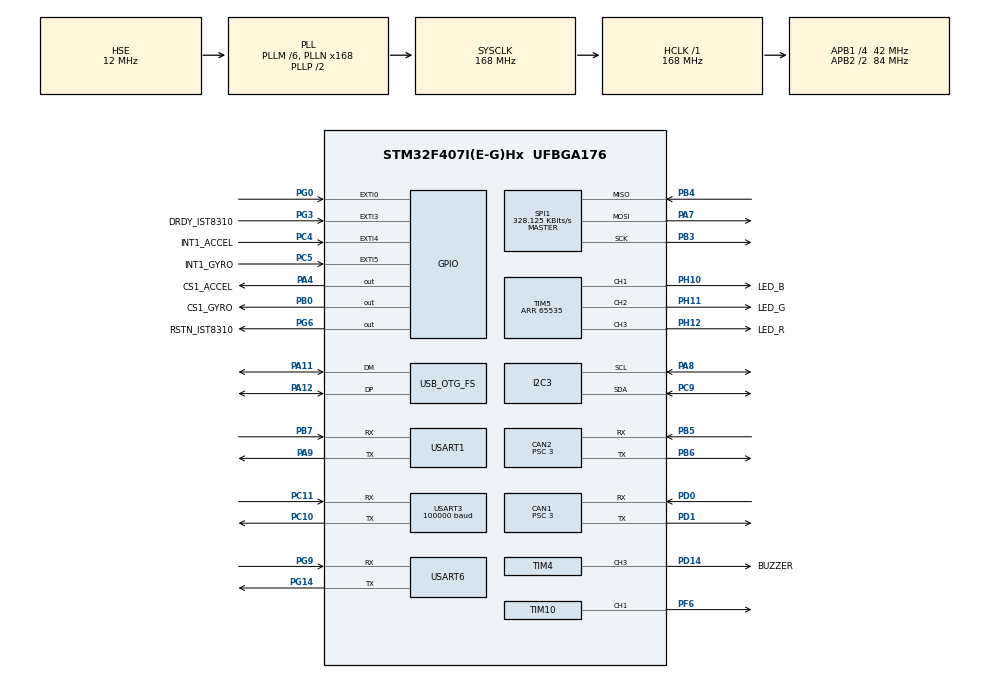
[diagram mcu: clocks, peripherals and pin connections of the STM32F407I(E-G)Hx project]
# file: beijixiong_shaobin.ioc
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CAN1.BS1=CAN_BS1_10TQ
CAN1.BS2=CAN_BS2_3TQ
CAN1.CalculateBaudRate=1000000
CAN1.CalculateTimeBit=1000
CAN1.CalculateTimeQuantum=71.42857142857143
CAN1.Prescaler=3
CAN2.BS1=CAN_BS1_10TQ
CAN2.BS2=CAN_BS2_3TQ
CAN2.CalculateBaudRate=1000000
CAN2.CalculateTimeBit=1000
CAN2.CalculateTimeQuantum=71.42857142857143
CAN2.Prescaler=3
Dma.Request0=USART6_RX
Dma.Request1=USART6_TX
Dma.Request2=USART3_RX
Dma.Request3=USART1_RX
Dma.Request4=USART1_TX
Dma.Request5=SPI1_RX
Dma.Request6=SPI1_TX
Dma.SPI1_RX.5.Direction=DMA_PERIPH_TO_MEMORY
Dma.SPI1_RX.5.FIFOMode=DMA_FIFOMODE_DISABLE
Dma.SPI1_RX.5.Instance=DMA2_Stream2
Dma.SPI1_RX.5.MemDataAlignment=DMA_MDATAALIGN_BYTE
Dma.SPI1_RX.5.MemInc=DMA_MINC_ENABLE
Dma.SPI1_RX.5.Mode=DMA_NORMAL
Dma.SPI1_RX.5.PeriphDataAlignment=DMA_PDATAALIGN_BYTE
Dma.SPI1_RX.5.PeriphInc=DMA_PINC_DISABLE
Dma.SPI1_RX.5.Priority=DMA_PRIORITY_VERY_HIGH
Dma.SPI1_TX.6.Direction=DMA_MEMORY_TO_PERIPH
Dma.SPI1_TX.6.FIFOMode=DMA_FIFOMODE_DISABLE
Dma.SPI1_TX.6.Instance=DMA2_Stream3
Dma.SPI1_TX.6.MemDataAlignment=DMA_MDATAALIGN_BYTE
Dma.SPI1_TX.6.MemInc=DMA_MINC_ENABLE
Dma.SPI1_TX.6.Mode=DMA_NORMAL
Dma.SPI1_TX.6.PeriphDataAlignment=DMA_PDATAALIGN_BYTE
Dma.SPI1_TX.6.PeriphInc=DMA_PINC_DISABLE
Dma.SPI1_TX.6.Priority=DMA_PRIORITY_HIGH
Dma.USART1_RX.3.Direction=DMA_PERIPH_TO_MEMORY
Dma.USART1_RX.3.FIFOMode=DMA_FIFOMODE_DISABLE
Dma.USART1_RX.3.Instance=DMA2_Stream5
Dma.USART1_RX.3.MemDataAlignment=DMA_MDATAALIGN_BYTE
Dma.USART1_RX.3.MemInc=DMA_MINC_ENABLE
Dma.USART1_RX.3.Mode=DMA_NORMAL
Dma.USART1_RX.3.PeriphDataAlignment=DMA_PDATAALIGN_BYTE
Dma.USART1_RX.3.PeriphInc=DMA_PINC_DISABLE
Dma.USART1_RX.3.Priority=DMA_PRIORITY_MEDIUM
Dma.USART1_TX.4.Direction=DMA_MEMORY_TO_PERIPH
Dma.USART1_TX.4.FIFOMode=DMA_FIFOMODE_DISABLE
Dma.USART1_TX.4.Instance=DMA2_Stream7
Dma.USART1_TX.4.MemDataAlignment=DMA_MDATAALIGN_BYTE
Dma.USART1_TX.4.MemInc=DMA_MINC_ENABLE
Dma.USART1_TX.4.Mode=DMA_NORMAL
Dma.USART1_TX.4.PeriphDataAlignment=DMA_PDATAALIGN_BYTE
Dma.USART1_TX.4.PeriphInc=DMA_PINC_DISABLE
Dma.USART1_TX.4.Priority=DMA_PRIORITY_MEDIUM
Dma.USART3_RX.2.Direction=DMA_PERIPH_TO_MEMORY
Dma.USART3_RX.2.FIFOMode=DMA_FIFOMODE_DISABLE
Dma.USART3_RX.2.Instance=DMA1_Stream1
Dma.USART3_RX.2.MemDataAlignment=DMA_MDATAALIGN_BYTE
Dma.USART3_RX.2.MemInc=DMA_MINC_ENABLE
Dma.USART3_RX.2.Mode=DMA_NORMAL
Dma.USART3_RX.2.PeriphDataAlignment=DMA_PDATAALIGN_BYTE
Dma.USART3_RX.2.PeriphInc=DMA_PINC_DISABLE
Dma.USART3_RX.2.Priority=DMA_PRIORITY_HIGH
Dma.USART6_RX.0.Direction=DMA_PERIPH_TO_MEMORY
Dma.USART6_RX.0.FIFOMode=DMA_FIFOMODE_DISABLE
Dma.USART6_RX.0.Instance=DMA2_Stream1
Dma.USART6_RX.0.MemDataAlignment=DMA_MDATAALIGN_BYTE
Dma.USART6_RX.0.MemInc=DMA_MINC_ENABLE
Dma.USART6_RX.0.Mode=DMA_NORMAL
Dma.USART6_RX.0.PeriphDataAlignment=DMA_PDATAALIGN_BYTE
Dma.USART6_RX.0.PeriphInc=DMA_PINC_DISABLE
Dma.USART6_RX.0.Priority=DMA_PRIORITY_HIGH
Dma.USART6_TX.1.Direction=DMA_MEMORY_TO_PERIPH
Dma.USART6_TX.1.FIFOMode=DMA_FIFOMODE_DISABLE
Dma.USART6_TX.1.Instance=DMA2_Stream6
Dma.USART6_TX.1.MemDataAlignment=DMA_MDATAALIGN_BYTE
Dma.USART6_TX.1.MemInc=DMA_MINC_ENABLE
Dma.USART6_TX.1.Mode=DMA_NORMAL
Dma.USART6_TX.1.PeriphDataAlignment=DMA_PDATAALIGN_BYTE
Dma.USART6_TX.1.PeriphInc=DMA_PINC_DISABLE
Dma.USART6_TX.1.Priority=DMA_PRIORITY_MEDIUM
FREERTOS.INCLUDE_eTaskGetState=1
FREERTOS.INCLUDE_pcTaskGetTaskName=1
FREERTOS.INCLUDE_uxTaskGetStackHighWaterMark=1
FREERTOS.INCLUDE_uxTaskGetStackHighWaterMark2=1
FREERTOS.INCLUDE_vTaskCleanUpResources=1
FREERTOS.INCLUDE_vTaskDelayUntil=1
FREERTOS.INCLUDE_xQueueGetMutexHolder=1
FREERTOS.INCLUDE_xSemaphoreGetMutexHolder=1
FREERTOS.INCLUDE_xTaskAbortDelay=1
FREERTOS.INCLUDE_xTaskGetCurrentTaskHandle=1
FREERTOS.INCLUDE_xTaskGetHandle=1
FREERTOS.INCLUDE_xTimerPendFunctionCall=1
FREERTOS.Tasks01=defaultTask,0,128,StartDefaultTask,Default,NULL,Dynamic,NULL,NULL
FREERTOS.configTOTAL_HEAP_SIZE=24576
FREERTOS.configUSE_TIMERS=1
I2C3.I2C_Mode=I2C_Fast
Mcu.Family=STM32F4
Mcu.Name=STM32F407I(E-G)Hx
Mcu.Package=UFBGA176
NVIC.CAN1_RX0_IRQn=true\:6\:0\:true\:false\:true\:true\:true\:true\:true
NVIC.CAN2_RX0_IRQn=true\:6\:0\:true\:false\:true\:true\:true\:true\:true
NVIC.DMA1_Stream1_IRQn=true\:5\:0\:false\:false\:false\:true\:false\:true\:true
NVIC.DMA2_Stream1_IRQn=true\:5\:0\:false\:false\:true\:true\:false\:true\:true
NVIC.DMA2_Stream2_IRQn=true\:5\:0\:false\:false\:false\:true\:false\:true\:true
NVIC.DMA2_Stream3_IRQn=true\:5\:0\:false\:false\:false\:true\:false\:true\:true
NVIC.DMA2_Stream5_IRQn=true\:5\:0\:false\:false\:true\:true\:false\:true\:true
NVIC.DMA2_Stream6_IRQn=true\:5\:0\:false\:false\:true\:true\:false\:true\:true
NVIC.DMA2_Stream7_IRQn=true\:5\:0\:false\:false\:true\:true\:false\:true\:true
NVIC.EXTI0_IRQn=true\:6\:0\:true\:false\:true\:true\:true\:true\:true
NVIC.EXTI3_IRQn=true\:5\:0\:false\:false\:true\:true\:true\:true\:true
NVIC.EXTI4_IRQn=true\:5\:0\:false\:false\:true\:true\:true\:true\:true
NVIC.EXTI9_5_IRQn=true\:5\:0\:false\:false\:true\:true\:true\:true\:true
NVIC.OTG_FS_IRQn=true\:5\:0\:false\:false\:true\:true\:false\:true\:true
NVIC.PriorityGroup=NVIC_PRIORITYGROUP_4
NVIC.USART1_IRQn=true\:5\:0\:false\:false\:true\:true\:true\:true\:true
NVIC.USART3_IRQn=true\:4\:0\:true\:false\:false\:false\:true\:true\:true
NVIC.USART6_IRQn=true\:5\:0\:false\:false\:false\:true\:false\:true\:true
PA11.Mode=Device_Only
PA11.Signal=USB_OTG_FS_DM
PA12.Mode=Device_Only
PA12.Signal=USB_OTG_FS_DP
PA13.Mode=Serial_Wire
PA13.Signal=SYS_JTMS-SWDIO
PA14.Mode=Serial_Wire
PA14.Signal=SYS_JTCK-SWCLK
PA4.GPIO_Label=CS1_ACCEL
PA4.GPIO_PuPd=GPIO_PULLUP
PA4.GPIO_Speed=GPIO_SPEED_FREQ_HIGH
PA4.PinState=GPIO_PIN_SET
PA4.Signal=GPIO_Output
PA7.GPIO_PuPd=GPIO_PULLUP
PA7.Mode=Full_Duplex_Master
PA7.Signal=SPI1_MOSI
PA8.GPIO_Pu=GPIO_PULLUP
PA8.Mode=I2C
PA8.Signal=I2C3_SCL
PA9.Mode=Asynchronous
PA9.Signal=USART1_TX
PB0.GPIO_Label=CS1_GYRO
PB0.GPIO_PuPd=GPIO_PULLUP
PB0.GPIO_Speed=GPIO_SPEED_FREQ_HIGH
PB0.PinState=GPIO_PIN_SET
PB0.Signal=GPIO_Output
PB3.GPIO_PuPd=GPIO_PULLUP
PB3.Mode=Full_Duplex_Master
PB3.Signal=SPI1_SCK
PB4.GPIO_PuPd=GPIO_PULLUP
PB4.Mode=Full_Duplex_Master
PB4.Signal=SPI1_MISO
PB5.Mode=CAN_Activate
PB5.Signal=CAN2_RX
PB6.Mode=CAN_Activate
PB6.Signal=CAN2_TX
PB7.Mode=Asynchronous
PB7.Signal=USART1_RX
PC10.Mode=Asynchronous
PC10.Signal=USART3_TX
PC11.Mode=Asynchronous
PC11.Signal=USART3_RX
PC4.GPIO_Label=INT1_ACCEL
PC4.GPIO_ModeDefaultEXTI=GPIO_MODE_IT_FALLING
PC4.GPIO_PuPd=GPIO_PULLUP
PC4.Signal=GPXTI4
PC5.GPIO_Label=INT1_GYRO
PC5.GPIO_ModeDefaultEXTI=GPIO_MODE_IT_FALLING
PC5.GPIO_PuPd=GPIO_PULLUP
PC5.Signal=GPXTI5
PC9.GPIO_Pu=GPIO_PULLUP
PC9.Mode=I2C
PC9.Signal=I2C3_SDA
PD0.Mode=CAN_Activate
PD0.Signal=CAN1_RX
PD1.Mode=CAN_Activate
PD1.Signal=CAN1_TX
PD14.GPIO_Label=BUZZER
PD14.GPIO_PuPd=GPIO_PULLUP
PD14.GPIO_Speed=GPIO_SPEED_FREQ_VERY_HIGH
PD14.Signal=S_TIM4_CH3
PF6.GPIO_PuPd=GPIO_PULLUP
PF6.GPIO_Speed=GPIO_SPEED_FREQ_HIGH
PF6.Signal=S_TIM10_CH1
PG0.GPIO_ModeDefaultEXTI=GPIO_MODE_IT_FALLING
PG0.GPIO_PuPd=GPIO_PULLUP
PG0.Signal=GPXTI0
PG14.Mode=Asynchronous
PG14.Signal=USART6_TX
PG3.GPIO_Label=DRDY_IST8310
PG3.GPIO_ModeDefaultEXTI=GPIO_MODE_IT_FALLING
PG3.GPIO_PuPd=GPIO_PULLUP
PG3.Signal=GPXTI3
PG6.GPIO_Label=RSTN_IST8310
PG6.GPIO_PuPd=GPIO_PULLUP
PG6.GPIO_Speed=GPIO_SPEED_FREQ_MEDIUM
PG6.PinState=GPIO_PIN_SET
PG6.Signal=GPIO_Output
PG9.Mode=Asynchronous
PG9.Signal=USART6_RX
PH0-OSC_IN.Mode=HSE-External-Oscillator
PH0-OSC_IN.Signal=RCC_OSC_IN
PH1-OSC_OUT.Mode=HSE-External-Oscillator
PH1-OSC_OUT.Signal=RCC_OSC_OUT
PH10.GPIO_Label=LED_B
PH10.GPIO_PuPd=GPIO_PULLUP
PH10.GPIO_Speed=GPIO_SPEED_FREQ_HIGH
PH10.Signal=S_TIM5_CH1
PH11.GPIO_Label=LED_G
PH11.GPIO_PuPd=GPIO_PULLUP
PH11.GPIO_Speed=GPIO_SPEED_FREQ_HIGH
PH11.Signal=S_TIM5_CH2
PH12.GPIO_Label=LED_R
PH12.GPIO_PuPd=GPIO_PULLUP
PH12.GPIO_Speed=GPIO_SPEED_FREQ_HIGH
PH12.Signal=S_TIM5_CH3
ProjectManager.HeapSize=0x2000
ProjectManager.StackSize=0x2000
ProjectManager.TargetToolchain=MDK-ARM V5.32
RCC.48MHZClocksFreq_Value=48000000
RCC.AHBFreq_Value=168000000
RCC.APB1CLKDivider=RCC_HCLK_DIV4
RCC.APB1Freq_Value=42000000
RCC.APB1TimFreq_Value=84000000
RCC.APB2CLKDivider=RCC_HCLK_DIV2
RCC.APB2Freq_Value=84000000
RCC.APB2TimFreq_Value=168000000
RCC.CortexFreq_Value=168000000
RCC.HCLKFreq_Value=168000000
RCC.HSE_VALUE=12000000
RCC.HSI_VALUE=16000000
RCC.LSE_VALUE=32768
RCC.PLLM=6
RCC.PLLN=168
RCC.PLLQ=7
RCC.SYSCLKFreq_VALUE=168000000
RCC.SYSCLKSource=RCC_SYSCLKSOURCE_PLLCLK
RCC.VCOOutputFreq_Value=336000000
SH.S_TIM10_CH1.0=TIM10_CH1,PWM Generation1 CH1
SH.S_TIM4_CH3.0=TIM4_CH3,PWM Generation3 CH3
SH.S_TIM5_CH1.0=TIM5_CH1,PWM Generation1 CH1
SH.S_TIM5_CH2.0=TIM5_CH2,PWM Generation2 CH2
SH.S_TIM5_CH3.0=TIM5_CH3,PWM Generation3 CH3
SPI1.BaudRatePrescaler=SPI_BAUDRATEPRESCALER_256
SPI1.CLKPhase=SPI_PHASE_2EDGE
SPI1.CLKPolarity=SPI_POLARITY_HIGH
SPI1.CalculateBaudRate=328.125 KBits/s
SPI1.Direction=SPI_DIRECTION_2LINES
SPI1.Mode=SPI_MODE_MASTER
SPI1.VirtualType=VM_MASTER
TIM10.Channel=TIM_CHANNEL_1
TIM10.Period=4999
TIM4.Channel-PWM\ Generation3\ CH3=TIM_CHANNEL_3
TIM4.Prescaler=167
TIM5.Channel-PWM\ Generation1\ CH1=TIM_CHANNEL_1
TIM5.Channel-PWM\ Generation2\ CH2=TIM_CHANNEL_2
TIM5.Channel-PWM\ Generation3\ CH3=TIM_CHANNEL_3
TIM5.Period=65535
USART1.VirtualMode=VM_ASYNC
USART3.BaudRate=100000
USART3.Parity=PARITY_EVEN
USART3.VirtualMode=VM_ASYNC
USART6.VirtualMode=VM_ASYNC
USB_DEVICE.CLASS_NAME_FS=CDC
USB_DEVICE.VirtualMode-CDC_FS=Cdc
USB_DEVICE.VirtualModeFS=Cdc_FS
USB_OTG_FS.VirtualMode=Device_Only
VP_CRC_VS_CRC.Mode=CRC_Activate
VP_FREERTOS_VS_CMSIS_V1.Mode=CMSIS_V1
VP_TIM10_VS_ClockSourceINT.Mode=Enable_Timer
VP_TIM4_VS_ClockSourceINT.Mode=Internal
VP_TIM5_VS_ClockSourceINT.Mode=Internal
VP_USB_DEVICE_VS_USB_DEVICE_CDC_FS.Mode=CDC_FS
board=custom

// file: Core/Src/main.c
/* USER CODE BEGIN Header */
/**
  ******************************************************************************
  * @file           : main.c
  * @brief          : Main program body
  ******************************************************************************
  * @attention
  *
  * Copyright (c) 2025 STMicroelectronics.
  * All rights reserved.
  *
  * This software is licensed under terms that can be found in the LICENSE file
  * in the root directory of this software component.
  * If no LICENSE file comes with this software, it is provided AS-IS.
  *
  ******************************************************************************
  */
/* USER CODE END Header */
#include "main.h"
#include "cmsis_os.h"
#include "can.h"
#include "crc.h"
#include "dma.h"
#include "i2c.h"
#include "spi.h"
#include "tim.h"
#include "usart.h"
#include "usb_device.h"
#include "gpio.h"

/* USER CODE BEGIN Includes */
#include "bsp_can.h"
#include "bsp_delay.h"
#include "bsp_usart.h"
#include "remote_control.h"
#include "VOFA.h"
#include "IMU_task.h"

/* USER CODE END Includes */

void SystemClock_Config(void);
void MX_FREERTOS_Init(void);

int main(void)
{

  /* MCU Configuration--------------------------------------------------------*/

  /* Reset of all peripherals, Initializes the Flash interface and the Systick. */
  HAL_Init();

  /* Configure the system clock */
  SystemClock_Config();

  /* Initialize all configured peripherals */
  MX_GPIO_Init();
  MX_DMA_Init();
  MX_CAN1_Init();
  MX_CAN2_Init();
  MX_USART6_UART_Init();
  MX_USART3_UART_Init();
  MX_USART1_UART_Init();
  MX_SPI1_Init();
  MX_I2C3_Init();
  MX_TIM10_Init();
  MX_TIM4_Init();
  MX_TIM5_Init();
  MX_CRC_Init();
  /* USER CODE BEGIN 2 */
	can_filter_init();
    delay_init();
    remote_control_init();
	HAL_UART_Receive_DMA(&huart1,RxData,sizeof(RxData));//VOFA调试
  /* USER CODE END 2 */

  /* Call init function for freertos objects (in cmsis_os2.c) */
  MX_FREERTOS_Init();

  /* Start scheduler */
  osKernelStart();

  /* We should never get here as control is now taken by the scheduler */

  /* Infinite loop */
  while (1)
  {

  }
}

void SystemClock_Config(void)
{
  RCC_OscInitTypeDef RCC_OscInitStruct = {0};
  RCC_ClkInitTypeDef RCC_ClkInitStruct = {0};

  /** Configure the main internal regulator output voltage
  */
  __HAL_RCC_PWR_CLK_ENABLE();
  __HAL_PWR_VOLTAGESCALING_CONFIG(PWR_REGULATOR_VOLTAGE_SCALE1);

  /** Initializes the RCC Oscillators according to the specified parameters
  * in the RCC_OscInitTypeDef structure.
  */
  RCC_OscInitStruct.OscillatorType = RCC_OSCILLATORTYPE_HSE;
  RCC_OscInitStruct.HSEState = RCC_HSE_ON;
  RCC_OscInitStruct.PLL.PLLState = RCC_PLL_ON;
  RCC_OscInitStruct.PLL.PLLSource = RCC_PLLSOURCE_HSE;
  RCC_OscInitStruct.PLL.PLLM = 6;
  RCC_OscInitStruct.PLL.PLLN = 168;
  RCC_OscInitStruct.PLL.PLLP = RCC_PLLP_DIV2;
  RCC_OscInitStruct.PLL.PLLQ = 7;
  if (HAL_RCC_OscConfig(&RCC_OscInitStruct) != HAL_OK)
  {
    Error_Handler();
  }

  /** Initializes the CPU, AHB and APB buses clocks
  */
  RCC_ClkInitStruct.ClockType = RCC_CLOCKTYPE_HCLK|RCC_CLOCKTYPE_SYSCLK
                              |RCC_CLOCKTYPE_PCLK1|RCC_CLOCKTYPE_PCLK2;
  RCC_ClkInitStruct.SYSCLKSource = RCC_SYSCLKSOURCE_PLLCLK;
  RCC_ClkInitStruct.AHBCLKDivider = RCC_SYSCLK_DIV1;
  RCC_ClkInitStruct.APB1CLKDivider = RCC_HCLK_DIV4;
  RCC_ClkInitStruct.APB2CLKDivider = RCC_HCLK_DIV2;

  if (HAL_RCC_ClockConfig(&RCC_ClkInitStruct, FLASH_LATENCY_5) != HAL_OK)
  {
    Error_Handler();
  }
}

void Error_Handler(void)
{
  __disable_irq();
  while (1)
  {
  }
}

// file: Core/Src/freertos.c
/* USER CODE BEGIN Header */
/**
  ******************************************************************************
  * File Name          : freertos.c
  * Description        : Code for freertos applications
  ******************************************************************************
  * @attention
  *
  * Copyright (c) 2025 STMicroelectronics.
  * All rights reserved.
  *
  * This software is licensed under terms that can be found in the LICENSE file
  * in the root directory of this software component.
  * If no LICENSE file comes with this software, it is provided AS-IS.
  *
  ******************************************************************************
  */
/* USER CODE END Header */

#include "FreeRTOS.h"
#include "task.h"
#include "main.h"
#include "cmsis_os.h"

/* USER CODE BEGIN Includes */
#include "robot_param.h"

//#include "chassis_task.h"
#include "detect_task.h"
#include "IMU_task.h"
#include "shoot_task.h"
#include "gimbal_task.h"
#include "music_task.h"
#include "led_flow_task.h"
#include "usb_task.h"
/* USER CODE END Includes */

/* USER CODE BEGIN PTD */

osThreadId detect_handle;

osThreadId imuTaskHandle;

#if (GIMBAL_TYPE != GIMBAL_NONE)
osThreadId gimbalTaskHandle;
#endif

#if (SHOOT_TYPE != SHOOT_NONE)
osThreadId shootTaskHandle;
#endif

osThreadId musicTaskHandle;

osThreadId led_RGB_flow_handle;

osThreadId usb_task_handle;

//#if(CHASSIS_TYPE != CHASSIS_NONE)
//osThreadId chassisTaskHandle;
//#endif

/* USER CODE END PTD */

osThreadId defaultTaskHandle;

void StartDefaultTask(void const * argument);

extern void MX_USB_DEVICE_Init(void);
void MX_FREERTOS_Init(void); /* (MISRA C 2004 rule 8.1) */

/* GetIdleTaskMemory prototype (linked to static allocation support) */
void vApplicationGetIdleTaskMemory( StaticTask_t **ppxIdleTaskTCBBuffer, StackType_t **ppxIdleTaskStackBuffer, uint32_t *pulIdleTaskStackSize );

/* GetTimerTaskMemory prototype (linked to static allocation support) */
void vApplicationGetTimerTaskMemory( StaticTask_t **ppxTimerTaskTCBBuffer, StackType_t **ppxTimerTaskStackBuffer, uint32_t *pulTimerTaskStackSize );

/* USER CODE BEGIN GET_IDLE_TASK_MEMORY */
static StaticTask_t xIdleTaskTCBBuffer;
static StackType_t xIdleStack[configMINIMAL_STACK_SIZE];

void vApplicationGetIdleTaskMemory( StaticTask_t **ppxIdleTaskTCBBuffer, StackType_t **ppxIdleTaskStackBuffer, uint32_t *pulIdleTaskStackSize )
{
  *ppxIdleTaskTCBBuffer = &xIdleTaskTCBBuffer;
  *ppxIdleTaskStackBuffer = &xIdleStack[0];
  *pulIdleTaskStackSize = configMINIMAL_STACK_SIZE;
  /* place for user code */
}
/* USER CODE END GET_IDLE_TASK_MEMORY */

/* USER CODE BEGIN GET_TIMER_TASK_MEMORY */
static StaticTask_t xTimerTaskTCBBuffer;
static StackType_t xTimerStack[configTIMER_TASK_STACK_DEPTH];

void vApplicationGetTimerTaskMemory( StaticTask_t **ppxTimerTaskTCBBuffer, StackType_t **ppxTimerTaskStackBuffer, uint32_t *pulTimerTaskStackSize )
{
  *ppxTimerTaskTCBBuffer = &xTimerTaskTCBBuffer;
  *ppxTimerTaskStackBuffer = &xTimerStack[0];
  *pulTimerTaskStackSize = configTIMER_TASK_STACK_DEPTH;
  /* place for user code */
}
/* USER CODE END GET_TIMER_TASK_MEMORY */

void MX_FREERTOS_Init(void) {

  /* Create the thread(s) */
  /* definition and creation of defaultTask */
  osThreadDef(defaultTask, StartDefaultTask, osPriorityNormal, 0, 128);
  defaultTaskHandle = osThreadCreate(osThread(defaultTask), NULL);

  /* USER CODE BEGIN RTOS_THREADS */
  /* add threads, ... */
   osThreadDef(DETECT, detect_task, osPriorityNormal, 0, 256);
   detect_handle = osThreadCreate(osThread(DETECT), NULL);

//#if (CHASSIS_TYPE != CHASSIS_NONE)
//   osThreadDef(ChassisTask, chassis_task, osPriorityAboveNormal, 0, 512);
//   chassisTaskHandle = osThreadCreate(osThread(ChassisTask), NULL);
//#endif

    osThreadDef(imuTask, IMU_task, osPriorityRealtime, 0, 1024);
    imuTaskHandle = osThreadCreate(osThread(imuTask), NULL);

#if (GIMBAL_TYPE != GIMBAL_NONE)
    osThreadDef(gimbalTask, gimbal_task, osPriorityHigh, 0, 512);
    gimbalTaskHandle = osThreadCreate(osThread(gimbalTask), NULL);
#endif

#if (SHOOT_TYPE != SHOOT_NONE)
    osThreadDef(shootTask, shoot_task, osPriorityHigh, 0, 512);
    shootTaskHandle = osThreadCreate(osThread(shootTask), NULL);
#endif

	osThreadDef(musicTask, music_task, osPriorityNormal, 0, 256);
    musicTaskHandle = osThreadCreate(osThread(musicTask), NULL);

    osThreadDef(led, led_RGB_flow_task, osPriorityNormal, 0, 256);
    led_RGB_flow_handle = osThreadCreate(osThread(led), NULL);

    osThreadDef(USB_Task, usb_task, osPriorityNormal, 0, 128);
    usb_task_handle = osThreadCreate(osThread(USB_Task), NULL);

  /* USER CODE END RTOS_THREADS */

}

void StartDefaultTask(void const * argument)
{
  /* init code for USB_DEVICE */
  MX_USB_DEVICE_Init();
  for(;;)
  {
    osDelay(1);
  }
}
